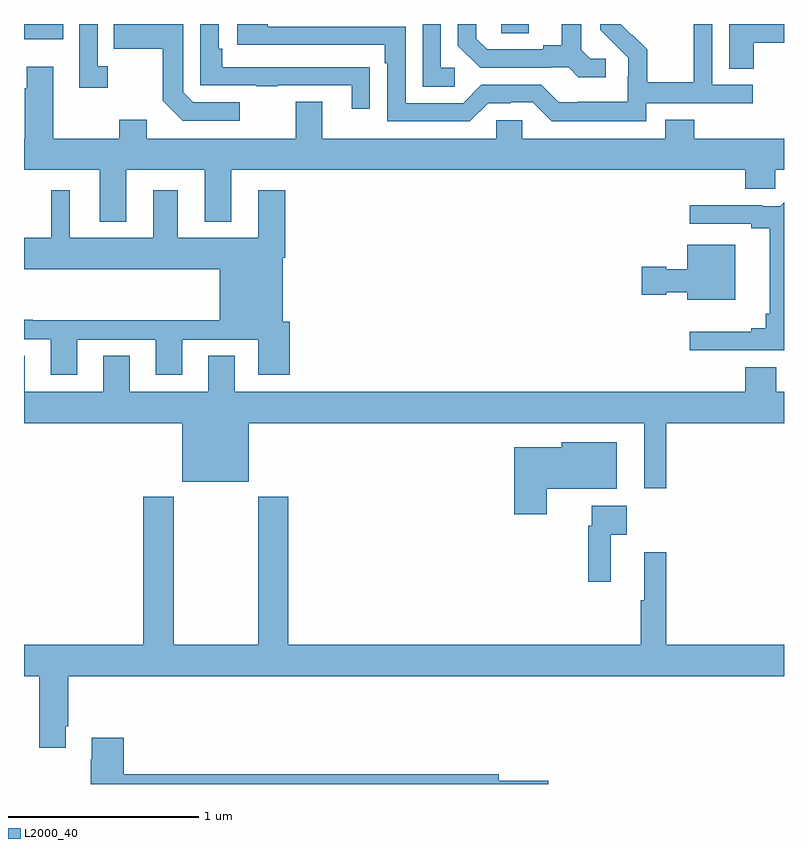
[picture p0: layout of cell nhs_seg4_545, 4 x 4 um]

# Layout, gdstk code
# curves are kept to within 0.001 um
import gdstk
lib = gdstk.Library(unit=1e-6, precision=1e-09)
def R(c, l, rs):  # rectangles x0, y0, x1, y1
    for r in rs: c.add(gdstk.rectangle(r[:2], r[2:], *l))
def P(c, l, *ps):  # polygons
    for p in ps: c.add(gdstk.Polygon(p, *l))
L2000_40 = (2000, 40)

nhs_seg4_545 = lib.new_cell('nhs_seg4_545')
R(nhs_seg4_545, L2000_40, [(137,818.819,137.206,818.9), (139.512,818.851,139.657,818.9)])
P(nhs_seg4_545, L2000_40, [(139.267,818.67),(139.194,818.67),(139.194,818.9),(139.098,818.9),(139.098,818.569),(139.267,818.569)],
  [(138.136,818.487),(137.892,818.487),(137.838,818.541),(137.838,818.9),(137.473,818.9),(137.473,818.77),(137.73,818.77),(137.73,818.497),(137.835,818.391),(138.136,818.391)],
  [(137.44,818.678),(137.388,818.678),(137.388,818.9),(137.292,818.9),(137.292,818.565),(137.44,818.565)],
  [(140.062,818.718),(139.98,818.718),(139.933,818.765),(139.933,818.9),(139.829,818.9),(139.829,818.789),(139.733,818.789),(139.733,818.766),(139.438,818.766),(139.381,818.823),(139.381,818.9),(139.284,818.9),(139.284,818.786),(139.4,818.67),(139.772,818.67),(139.772,818.673),(139.866,818.673),(139.918,818.621),(140.062,818.621)],
  [(138.821,818.672),(138.719,818.672),(138.719,818.673),(138.044,818.673),(138.044,818.77),(138.024,818.77),(138.024,818.9),(137.928,818.9),(137.928,818.577),(138.223,818.577),(138.223,818.572),(138.335,818.572),(138.335,818.577),(138.725,818.577),(138.725,818.454),(138.821,818.454)],
  [(140.274,818.484),(140.836,818.484),(140.836,818.58),(140.622,818.58),(140.622,818.9),(140.526,818.9),(140.526,818.816),(140.524,818.816),(140.524,818.593),(140.279,818.593),(140.279,818.767),(140.202,818.844),(140.199,818.841),(140.141,818.9),(140.034,818.9),(140.034,818.87),(140.18,818.722),(140.18,818.625),(140.178,818.625),(140.178,818.491),(139.915,818.491),(139.915,818.487),(139.815,818.487),(139.722,818.58),(139.407,818.58),(139.311,818.484),(139.008,818.484),(139.008,818.886),(138.284,818.886),(138.284,818.9),(138.123,818.9),(138.123,818.79),(138.899,818.79),(138.899,818.693),(138.912,818.693),(138.912,818.388),(139.347,818.388),(139.443,818.484),(139.562,818.484),(139.562,818.487),(139.677,818.487),(139.777,818.387),(140.274,818.387)],
  [(140.842,818.801),(141,818.801),(141,818.9),(140.711,818.9),(140.711,818.665),(140.842,818.665)],
  [(137.647,818.395),(137.5,818.395),(137.5,818.296),(137.155,818.296),(137.155,818.674),(137.015,818.674),(137.015,818.561),(137.003,818.561),(137.003,818.296),(137,818.296),(137,818.132),(137.399,818.132),(137.399,817.859),(137.539,817.859),(137.539,818.132),(137.951,818.132),(137.951,817.859),(138.091,817.859),(138.091,818.132),(140.795,818.132),(140.795,818.034),(140.955,818.034),(140.955,818.132),(141,818.132),(141,818.296),(140.528,818.296),(140.528,818.395),(140.375,818.395),(140.375,818.296),(139.623,818.296),(139.623,818.394),(139.485,818.394),(139.485,818.296),(138.571,818.296),(138.571,818.491),(138.431,818.491),(138.431,818.296),(137.647,818.296)],
  [(137.281,817.239),(137.693,817.239),(137.693,817.053),(137.833,817.053),(137.833,817.239),(138.233,817.239),(138.233,817.053),(138.398,817.053),(138.398,817.332),(138.361,817.332),(138.361,817.67),(138.374,817.67),(138.374,818.026),(138.233,818.026),(138.233,817.774),(137.809,817.774),(137.809,818.026),(137.681,818.026),(137.681,817.774),(137.242,817.774),(137.242,818.026),(137.144,818.026),(137.144,817.774),(137,817.774),(137,817.61),(138.029,817.61),(138.029,817.34),(137.045,817.34),(137.045,817.343),(137,817.343),(137,817.242),(137.141,817.242),(137.141,817.053),(137.281,817.053)],
  [(141,817.962),(140.979,817.941),(140.885,817.941),(140.885,817.946),(140.505,817.946),(140.505,817.848),(140.828,817.848),(140.828,817.826),(140.924,817.826),(140.924,817.375),(140.905,817.375),(140.905,817.298),(140.828,817.298),(140.828,817.279),(140.505,817.279),(140.505,817.182),(141,817.182)],
  [(140.743,817.738),(140.492,817.738),(140.492,817.609),(140.379,817.609),(140.379,817.622),(140.25,817.622),(140.25,817.475),(140.379,817.475),(140.379,817.487),(140.492,817.487),(140.492,817.448),(140.743,817.448)],
  [(140.381,816.8),(141,816.8),(141,816.964),(140.959,816.964),(140.959,817.093),(140.795,817.093),(140.795,816.964),(138.109,816.964),(138.109,817.154),(137.969,817.154),(137.969,816.964),(137.557,816.964),(137.557,817.154),(137.417,817.154),(137.417,816.964),(137.005,816.964),(137.005,817.154),(137,817.154),(137,816.8),(137.834,816.8),(137.834,816.491),(138.184,816.491),(138.184,816.8),(140.264,816.8),(140.264,816.456),(140.381,816.456)],
  [(139.75,816.455),(140.119,816.455),(140.119,816.7),(139.83,816.7),(139.83,816.673),(139.58,816.673),(139.58,816.321),(139.75,816.321)],
  [(137.221,815.203),(137.234,815.203),(137.234,815.468),(141,815.468),(141,815.632),(140.381,815.632),(140.381,816.121),(140.264,816.121),(140.264,815.868),(140.245,815.868),(140.245,815.632),(138.392,815.632),(138.392,816.412),(138.232,816.412),(138.232,815.632),(137.787,815.632),(137.787,816.412),(137.627,816.412),(137.627,815.632),(137,815.632),(137,815.468),(137.081,815.468),(137.081,815.091),(137.221,815.091)],
  [(140.087,816.212),(140.173,816.212),(140.173,816.364),(139.989,816.364),(139.989,816.26),(139.969,816.26),(139.969,815.964),(140.087,815.964)],
  [(139.759,814.916),(139.498,814.916),(139.498,814.952),(137.525,814.952),(137.525,815.143),(137.357,815.143),(137.357,815.03),(137.35,815.03),(137.35,814.9),(139.759,814.9)])

lib.write_gds('nhs_seg4_545.gds')
